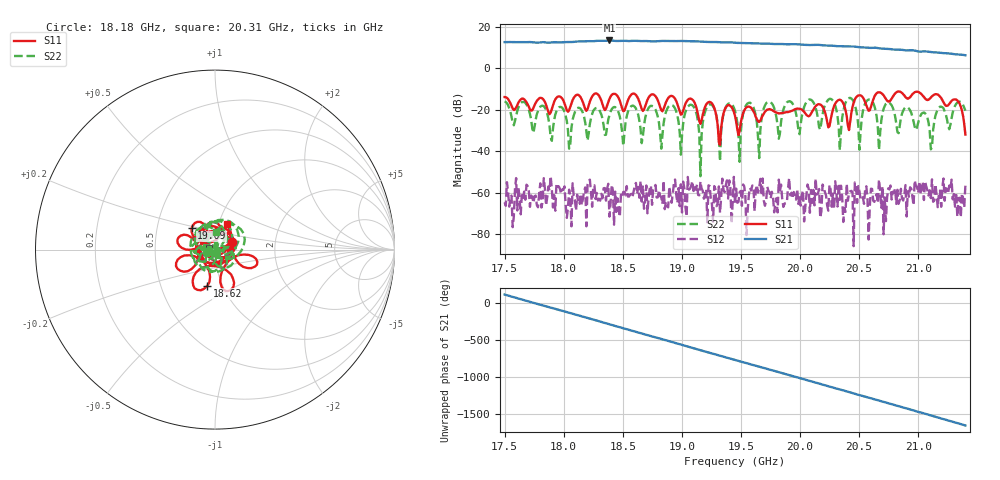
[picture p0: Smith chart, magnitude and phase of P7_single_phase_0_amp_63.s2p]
!Created with skrf (http://scikit-rf.org).
# GHz S RI R 50.0
!freq ReS11 ImS11 ReS21 ImS21 ReS12 ImS12 ReS22 ImS22
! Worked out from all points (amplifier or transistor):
!   401 points, 17.5 GHz to 21.4 GHz, reference 50 ohm
!   highest |S21| = 13.4 dB at 18.39 GHz (marker M1)
!   |S21| within 3 dB of that: start of sweep to 20.47 GHz
!   unconditionally stable (mu >= 1): start of sweep to end of sweep
!   at 18.14 GHz: K = 114.33, MAG = 13.1 dB, |S12| = -60.5 dB
!   at 19.45 GHz: K = 224.27, MAG = 12.4 dB, |S12| = -65.5 dB
!   at 21.4 GHz: K = 157.35, MAG = 6.3 dB, |S12| = -56.3 dB
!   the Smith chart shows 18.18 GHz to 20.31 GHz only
!   S11 on the Smith chart (normalised r, x): 18.18 GHz: 1.20, +0.11; 18.62 GHz: 0.85, -0.36; 19.09 GHz: 0.75, +0.18; 20.31 GHz: 1.10, +0.31
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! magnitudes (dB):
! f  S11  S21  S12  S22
! 17.5 GHz  -13.9  12.6  -64.6  -16.0
! 18.05 GHz  -20.3  12.6  -58.5  -38.7
! 18.15 GHz  -15.1  12.9  -66.0  -20.4
! 18.18 GHz  -19.7  13.0  -57.4  -26.3
! 18.39 GHz  -14.8  13.4  -71.4  -22.6
! 18.62 GHz  -13.7  13.2  -60.5  -20.7
! 18.81 GHz  -17.0  13.1  -58.7  -26.2
! 19.09 GHz  -15.1  13.0  -54.4  -17.9
! 19.16 GHz  -26.8  12.9  -54.5  -52.0
! 19.23 GHz  -16.3  12.6  -56.4  -17.6
! 19.32 GHz  -36.9  12.5  -69.7  -44.9
! 19.45 GHz  -22.9  12.3  -65.5  -20.5
! 19.65 GHz  -25.8  11.9  -57.6  -43.3
! 19.72 GHz  -19.9  11.9  -57.1  -16.4
! 19.82 GHz  -21.8  11.7  -53.6  -34.0
! 20.1 GHz  -20.8  11.2  -64.8  -15.6
! 20.31 GHz  -16.2  10.6  -59.9  -19.9
! 20.59 GHz  -20.2  9.8  -66.8  -15.1
! 20.67 GHz  -11.6  9.6  -53.6  -39.4
! 20.76 GHz  -16.1  9.3  -58.4  -16.7
! 21.11 GHz  -14.1  7.8  -62.5  -39.1
! 21.4 GHz  -31.9  6.3  -56.3  -20.5
